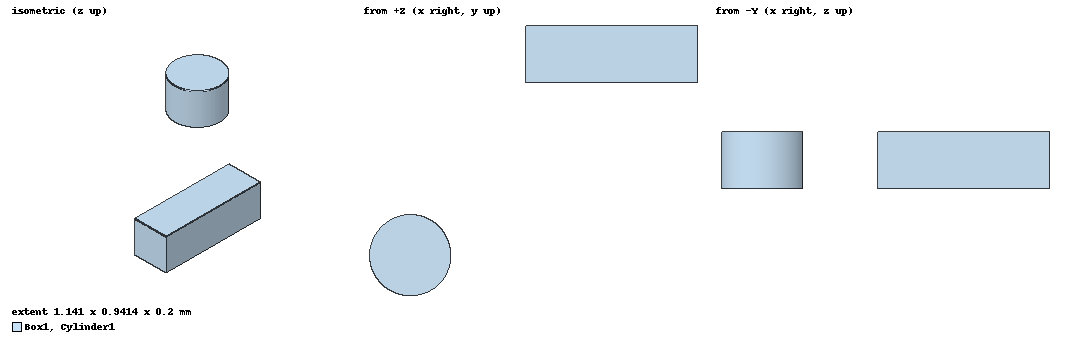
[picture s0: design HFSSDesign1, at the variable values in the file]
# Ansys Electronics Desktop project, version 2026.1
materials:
  vacuum: permittivity=1
  Al-Extruded: thermal_conductivity=205 mass_density=2800 specific_heat=900 youngs_modulus=69000000000 poissons_ratio=0.33 thermal_expansion_coefficient=2.277e-06 thermal_material_type=Solid
  air: permittivity=1.0006 permeability=1.0000004 thermal_conductivity=0.0261 mass_density=1.1614 specific_heat=1005 thermal_expansion_coefficient=0.00333 thermal_material_type=Fluid diffusivity=2.88e-05 molecular_mass=0.028966 viscosity=1.84e-05 material_refractive_index=1.000293
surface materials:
  Steel-oxidised-surface: surface_emissivity=0.8

design HFSSDesign1 (HFSS, HFSS Terminal Network, model units mm)
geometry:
  Box1 [vacuum] = box(corner=(-0.3mm, 0.1mm, 0mm), size=(0.6mm, -0.2mm, 0.2mm))
  Cylinder1 [vacuum] = cylinder(axis=Z, base_centre=(-0.7mm, -0.7mm, 0mm), radius=0.14142136mm, height=0.2mm)
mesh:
  Length1: LengthBased Objects=Box1 MaxLength=0.12mm
  SurfApprox1: SurfApproxBased Faces=Box1.face(+z) CurvedSurfaceApproxChoice=UseSlider SliderMeshSettings=5
  ApplyCurvilinear1: Curvilinear Faces=Cylinder1.face(side)

design IcepakDesign1 (Icepak, SteadyState TemperatureAndFlow, model units mm)
options: Default_Fluid_Material=air Default_Solid_Material=Al-Extruded Default_Surface_Material=Steel-oxidised-surface AmbientTemperature=20cel AmbientPressure=0n_per_meter_sq AmbientRadiationTemperature=20cel Gravity_Vector_CS_ID=Global Gravity_Vector_Axis=Z Positive=false Altitude=0meter OperatingPressure=101325n_per_meter_sq OperatingDensity=1.225kg_per_m3 JouleHeatingType=0 DisableShellConductionForJouleHeating
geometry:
  Region [air] = region(percentage_offset=50 on all sides)
  Box1 [Al-Extruded] = box(corner=(-0.5mm, 0mm, 0mm), size=(0.8mm, -0.2mm, 0.1mm))
  MeshRegion1_SubRegion [air, non-model] = sub_region(of=Box1, percentage_offset=0 on all sides)
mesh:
  Global:  MeshMethod=MesherHD ComputeGap MeshRegionResolution=2 MinGapX=0.16mm MinGapY=0.04mm MinGapZ=0.02mm Objects=Region FacetLevel=3 ProximitySizeFunction CurvatureSizeFunction OptimizePCBMesh
  MeshRegion1:  MeshMethod=MesherHD MeshRegionResolution=3 MinGapX=0.08mm MinGapY=0.02mm MinGapZ=0.01mm Objects=MeshRegion1_SubRegion ProximitySizeFunction CurvatureSizeFunction OptimizePCBMesh
